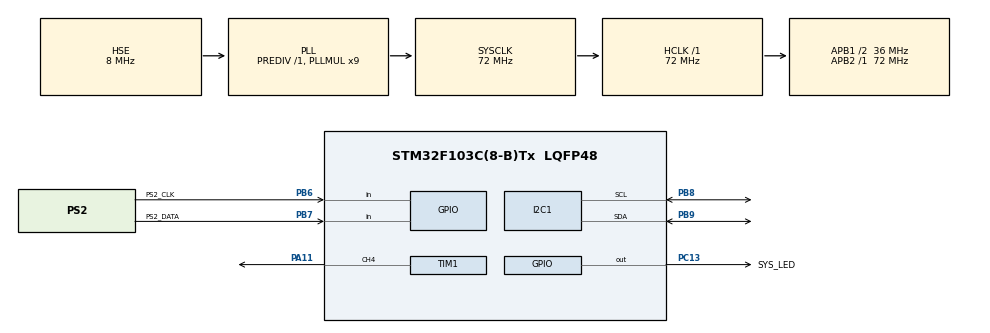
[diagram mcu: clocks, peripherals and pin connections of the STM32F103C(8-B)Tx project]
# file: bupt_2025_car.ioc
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FREERTOS.Tasks01=defaultTask,24,128,StartDefaultTask,Default,NULL,Dynamic,NULL,NULL
FREERTOS.configUSE_APPLICATION_TASK_TAG=1
Mcu.Family=STM32F1
Mcu.Name=STM32F103C(8-B)Tx
Mcu.Package=LQFP48
NVIC.PriorityGroup=NVIC_PRIORITYGROUP_4
NVIC.TIM4_IRQn=true\:15\:0\:false\:false\:true\:false\:false\:true\:true
NVIC.TimeBase=TIM4_IRQn
NVIC.TimeBaseIP=TIM4
PA11.Signal=S_TIM1_CH4
PA13.Mode=Serial_Wire
PA13.Signal=SYS_JTMS-SWDIO
PA14.Mode=Serial_Wire
PA14.Signal=SYS_JTCK-SWCLK
PB6.GPIO_Label=PS2_CLK
PB6.GPIO_PuPd=GPIO_PULLUP
PB6.Signal=GPIO_Input
PB7.GPIO_Label=PS2_DATA
PB7.GPIO_PuPd=GPIO_PULLUP
PB7.Signal=GPIO_Input
PB8.Mode=I2C
PB8.Signal=I2C1_SCL
PB9.Mode=I2C
PB9.Signal=I2C1_SDA
PC13-TAMPER-RTC.GPIO_Label=SYS_LED
PC13-TAMPER-RTC.GPIO_PuPd=GPIO_PULLDOWN
PC13-TAMPER-RTC.Signal=GPIO_Output
PD0-OSC_IN.Mode=HSE-External-Oscillator
PD0-OSC_IN.Signal=RCC_OSC_IN
PD1-OSC_OUT.Mode=HSE-External-Oscillator
PD1-OSC_OUT.Signal=RCC_OSC_OUT
ProjectManager.HeapSize=0x200
ProjectManager.StackSize=0x400
ProjectManager.TargetToolchain=CMake
RCC.AHBFreq_Value=72000000
RCC.APB1CLKDivider=RCC_HCLK_DIV2
RCC.APB1Freq_Value=36000000
RCC.APB1TimFreq_Value=72000000
RCC.APB2Freq_Value=72000000
RCC.APB2TimFreq_Value=72000000
RCC.HCLKFreq_Value=72000000
RCC.PLLMUL=RCC_PLL_MUL9
RCC.PLLSourceVirtual=RCC_PLLSOURCE_HSE
RCC.SYSCLKFreq_VALUE=72000000
RCC.SYSCLKSource=RCC_SYSCLKSOURCE_PLLCLK
RCC.USBFreq_Value=72000000
SH.S_TIM1_CH4.0=TIM1_CH4,PWM Generation4 CH4
TIM1.Channel-PWM\ Generation4\ CH4=TIM_CHANNEL_4
TIM1.Period=7199
TIM1.Prescaler=0
VP_FREERTOS_VS_CMSIS_V2.Mode=CMSIS_V2
VP_SYS_VS_tim4.Mode=TIM4
VP_TIM1_VS_ClockSourceINT.Mode=Internal
board=custom

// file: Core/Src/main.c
/* USER CODE BEGIN Header */
/**
  ******************************************************************************
  * @file           : main.c
  * @brief          : Main program body
  ******************************************************************************
  * @attention
  *
  * Copyright (c) 2025 STMicroelectronics.
  * All rights reserved.
  *
  * This software is licensed under terms that can be found in the LICENSE file
  * in the root directory of this software component.
  * If no LICENSE file comes with this software, it is provided AS-IS.
  *
  ******************************************************************************
  */
/* USER CODE END Header */
#include "main.h"
#include "cmsis_os.h"
#include "i2c.h"
#include "tim.h"
#include "gpio.h"

/* USER CODE BEGIN Includes */
#include "../../Utils/Inc/ssd1306.h"
#include "../../Utils/Inc/motor.h"
#include "../../Utils/Inc/ps2mouse.h"
/* USER CODE END Includes */

void SystemClock_Config(void);
void MX_FREERTOS_Init(void);

int main(void)
{

  /* MCU Configuration--------------------------------------------------------*/

  /* Reset of all peripherals, Initializes the Flash interface and the Systick. */
  HAL_Init();

  /* Configure the system clock */
  SystemClock_Config();

  /* Initialize all configured peripherals */
  MX_GPIO_Init();
  MX_TIM1_Init();
  MX_I2C1_Init();
  /* USER CODE BEGIN 2 */
  // oled屏幕初始�??
  ssd1306_Init();
  ssd1306_Fill(White);
  ssd1306_UpdateScreen();
  PS2Mouse_Init(GPIOB, GPIO_PIN_6, GPIOB, GPIO_PIN_7, STREAM);
  /* USER CODE END 2 */

  /* Init scheduler */
  osKernelInitialize();

  /* Call init function for freertos objects (in cmsis_os2.c) */
  MX_FREERTOS_Init();

  /* Start scheduler */
  osKernelStart();

  /* We should never get here as control is now taken by the scheduler */

  /* Infinite loop */
  while (1)
  {

  }
}

void SystemClock_Config(void)
{
  RCC_OscInitTypeDef RCC_OscInitStruct = {0};
  RCC_ClkInitTypeDef RCC_ClkInitStruct = {0};

  /** Initializes the RCC Oscillators according to the specified parameters
  * in the RCC_OscInitTypeDef structure.
  */
  RCC_OscInitStruct.OscillatorType = RCC_OSCILLATORTYPE_HSE;
  RCC_OscInitStruct.HSEState = RCC_HSE_ON;
  RCC_OscInitStruct.HSEPredivValue = RCC_HSE_PREDIV_DIV1;
  RCC_OscInitStruct.HSIState = RCC_HSI_ON;
  RCC_OscInitStruct.PLL.PLLState = RCC_PLL_ON;
  RCC_OscInitStruct.PLL.PLLSource = RCC_PLLSOURCE_HSE;
  RCC_OscInitStruct.PLL.PLLMUL = RCC_PLL_MUL9;
  if (HAL_RCC_OscConfig(&RCC_OscInitStruct) != HAL_OK)
  {
    Error_Handler();
  }

  /** Initializes the CPU, AHB and APB buses clocks
  */
  RCC_ClkInitStruct.ClockType = RCC_CLOCKTYPE_HCLK|RCC_CLOCKTYPE_SYSCLK
                              |RCC_CLOCKTYPE_PCLK1|RCC_CLOCKTYPE_PCLK2;
  RCC_ClkInitStruct.SYSCLKSource = RCC_SYSCLKSOURCE_PLLCLK;
  RCC_ClkInitStruct.AHBCLKDivider = RCC_SYSCLK_DIV1;
  RCC_ClkInitStruct.APB1CLKDivider = RCC_HCLK_DIV2;
  RCC_ClkInitStruct.APB2CLKDivider = RCC_HCLK_DIV1;

  if (HAL_RCC_ClockConfig(&RCC_ClkInitStruct, FLASH_LATENCY_2) != HAL_OK)
  {
    Error_Handler();
  }
}

void HAL_TIM_PeriodElapsedCallback(TIM_HandleTypeDef *htim)
{
  if (htim->Instance == TIM4) {
    HAL_IncTick();
  }
}

void Error_Handler(void)
{
  __disable_irq();
  while (1)
  {
  }
}

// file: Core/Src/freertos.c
/* USER CODE BEGIN Header */
/**
 ******************************************************************************
 * File Name          : freertos.c
 * Description        : Code for freertos applications
 ******************************************************************************
 * @attention
 *
 * Copyright (c) 2025 STMicroelectronics.
 * All rights reserved.
 *
 * This software is licensed under terms that can be found in the LICENSE file
 * in the root directory of this software component.
 * If no LICENSE file comes with this software, it is provided AS-IS.
 *
 ******************************************************************************
 */
/* USER CODE END Header */

#include "FreeRTOS.h"
#include "task.h"
#include "main.h"
#include "cmsis_os.h"

/* USER CODE BEGIN Includes */
#include "../../Utils/Inc/motor.h"
#include "../../Utils/Inc/ssd1306.h"
#include "../../Utils/Inc/ssd1306_fonts.h"
#include "../../Utils/Inc/ps2mouse.h"
#include <stdio.h>
#include "cmsis_os2.h"
/* USER CODE END Includes */

/* USER CODE BEGIN PTD */

osThreadId_t motorControlTaskHandle;
const osThreadAttr_t motorControl_attributes = {
    .name = "motorControl",
    .stack_size = 128 * 4,
    .priority = (osPriority_t)osPriorityNormal,
};

// OLED显示任务句柄
osThreadId_t displayTaskHandle;
const osThreadAttr_t display_attributes = {
    .name = "displayTask",
    .stack_size = 128 * 4,
    .priority = (osPriority_t)osPriorityNormal,
};

// PS2鼠标任务句柄
osThreadId_t mouseTaskHandle;
const osThreadAttr_t mouse_attributes = {
    .name = "mouseTask",
    .stack_size = 128 * 4,
    .priority = (osPriority_t)osPriorityNormal,  // 修改为最高优先级
};

/* USER CODE END PTD */

/* USER CODE BEGIN Variables */

// 电机占空比全�?????变量
volatile uint8_t dutyCycle = 0;
volatile uint8_t displayValue_x = 0;
volatile uint8_t displayValue_y = 0;

// mouse data global variable
volatile PS2MouseData_t mouseData;

/* USER CODE END Variables */
/* Definitions for defaultTask */
osThreadId_t defaultTaskHandle;
const osThreadAttr_t defaultTask_attributes = {
  .name = "defaultTask",
  .stack_size = 128 * 4,
  .priority = (osPriority_t) osPriorityNormal,
};

/* USER CODE BEGIN FunctionPrototypes */

void MotorControlTask(void *argument);
void DisplayTask(void *argument);
void MouseTask(void *argument);

/* USER CODE END FunctionPrototypes */

void StartDefaultTask(void *argument);

void MX_FREERTOS_Init(void); /* (MISRA C 2004 rule 8.1) */

void MX_FREERTOS_Init(void) {

  /* Create the thread(s) */
  /* creation of defaultTask */
  defaultTaskHandle = osThreadNew(StartDefaultTask, NULL, &defaultTask_attributes);

  /* USER CODE BEGIN RTOS_EVENTS */
  /* add events, ... */

  displayTaskHandle = osThreadNew(DisplayTask, NULL, &display_attributes);
  motorControlTaskHandle = osThreadNew(MotorControlTask, NULL, &motorControl_attributes);
  mouseTaskHandle = osThreadNew(MouseTask, NULL, &mouse_attributes);
  /* USER CODE END RTOS_EVENTS */

}

void StartDefaultTask(void *argument)
{
  for (;;)
  {
    osDelay(1);
  }
}

/* USER CODE BEGIN Application */
void MotorControlTask(void *argument)
{
  // 电机控制初始
  Motor_Init();

  for (;;)
  {
    // 增加占空比，超过100%后归0
    dutyCycle = (dutyCycle + 20) % 120;
    if (dutyCycle > 100)
    {
      dutyCycle = 0;
    }

    // 设置电机占空�?????
    Motor_SetDutyCycle(dutyCycle);

    // 等待3s
    osDelay(3000);
  }
}

void DisplayTask(void *argument)
{
  // 缓冲区用于字符串格式�??
  char str[16];

  // 确保OLED已经初始�??
  // 清屏
  ssd1306_Fill(Black);
  ssd1306_UpdateScreen();

  // 显示标题
  ssd1306_SetCursor(0, 0);
  ssd1306_WriteString("Mouse Data:", Font_7x10, White);

  for(;;)
  {
    // 清除显示区域（保留标题）
    // ssd1306_FillRectangle(0, 16, 128, 64, Black);

    // 格式化鼠标X�??
    snprintf(str, sizeof(str), "X: %d", displayValue_x);
    ssd1306_SetCursor(10, 20);
    ssd1306_WriteString(str, Font_7x10, White);

    // 格式化鼠标Y�??
    snprintf(str, sizeof(str), "Y: %d", displayValue_y);
    ssd1306_SetCursor(10, 30);
    ssd1306_WriteString(str, Font_7x10, White);

    // 格式化鼠标按键状�??
    snprintf(str, sizeof(str), "BTN:%c%c%c",
             mouseData.leftBtn ? 'L' : '-',
             mouseData.middleBtn ? 'M' : '-',
             mouseData.rightBtn ? 'R' : '-');
    ssd1306_SetCursor(10, 40);
    ssd1306_WriteString(str, Font_7x10, White);

    // 格式化电机占空比
    snprintf(str, sizeof(str), "PWM: %d%%", dutyCycle);
    ssd1306_SetCursor(10, 50);
    ssd1306_WriteString(str, Font_7x10, White);

    // 更新屏幕
    ssd1306_UpdateScreen();
    osDelay(200);
  }
}

void MouseTask(void *argument)
{

  // 设置鼠标分辨率
  PS2Mouse_SetResolution(2);  // 4 counts/mm

  // 设置采样率
  PS2Mouse_SetSampleRate(100);  // 100 samples/sec

  // 为xTaskDelayUntil添加静态变量记录上次唤醒时间
  TickType_t xLastWakeTime;
  const TickType_t xFrequency = pdMS_TO_TICKS(100); // 每10ms采样一次，而非1tick

  // 初始化上次唤醒时间
  xLastWakeTime = xTaskGetTickCount();

  for(;;)
  {
    // 读取鼠标数据
    PS2Mouse_ReadData((PS2MouseData_t*)&mouseData);

    // 处理鼠标数据，例如通过鼠标控制速度
    if(mouseData.leftBtn) {
      // 如果左键按下，提高占空比
      dutyCycle = (dutyCycle + 10) % 120;
      if(dutyCycle > 100) {
        dutyCycle = 100;
      }
    }

    displayValue_x = mouseData.x;
    displayValue_y = mouseData.y;

    if(mouseData.rightBtn) {
      // 如果右键按下，降低占空比
      if(dutyCycle >= 10) {
        dutyCycle -= 10;
      } else {
        dutyCycle = 0;
      }
    }

    // 使用xTaskDelayUntil确保周期性执行，但周期不要太短
    vTaskDelayUntil(&xLastWakeTime, xFrequency);
  }
}

/* USER CODE END Application */
